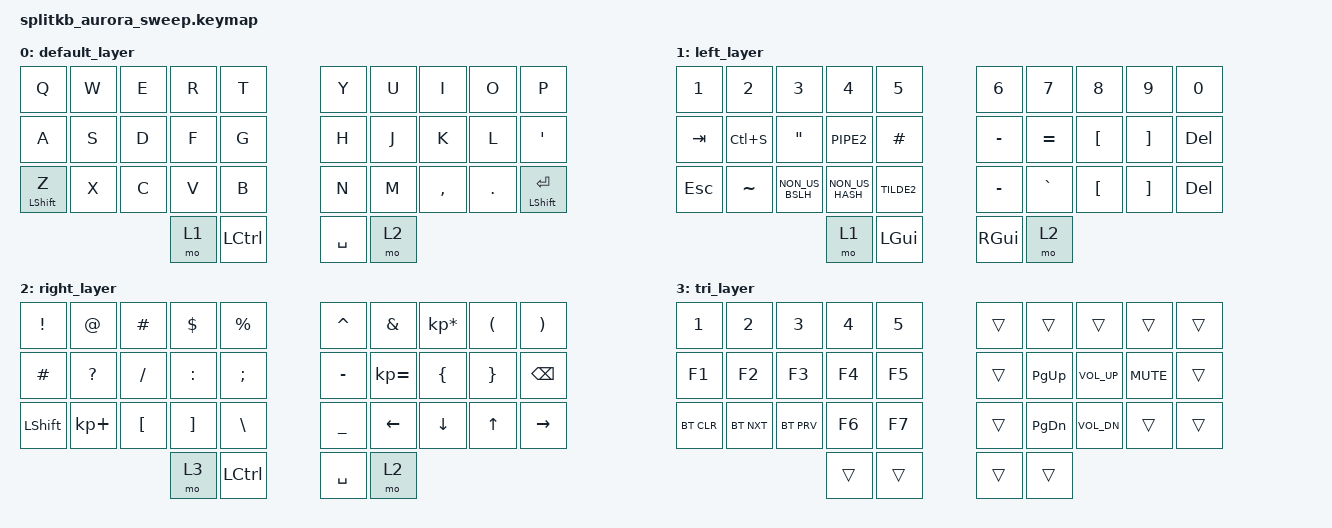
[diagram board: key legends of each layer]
/*
 * Copyright (c) 2022 The ZMK Contributors
 *
 * SPDX-License-Identifier: MIT
 */

#include <behaviors.dtsi>
#include <dt-bindings/zmk/bt.h>
#include <dt-bindings/zmk/ext_power.h>
#include <dt-bindings/zmk/keys.h>
#include <dt-bindings/zmk/outputs.h>
#include <dt-bindings/zmk/rgb.h>


&led_strip {
    // chain-length = <6>;

    chain-length = <18>; // Uncomment if using both per-key and underglow LEDs
    // chain-length = <25>; // Uncomment if using only per-key LEDs.
};

&mt {
  //  flavor = "tap-preferred";
   // tapping-term-ms = <200>;
};

/ {

    combos {
        compatible = "zmk,combos";
        combo_esc {
            timeout-ms = <50>;
            key-positions = <0 1>;
            bindings = <&kp ESC>;
        };

         combo_tab {
            timeout-ms = <50>;
            key-positions = <10 11>;
            bindings = <&kp TAB>;
        };

            combo_ralt {
            timeout-ms = <50>;
            key-positions = <17 16>;
            bindings = <&kp RALT>;
        };

                    combo_lalt {
            timeout-ms = <50>;
            key-positions = <11 12>;
            bindings = <&kp LALT>;
        };

                           combo_lgui {
            timeout-ms = <50>;
            key-positions = <12 13>;
            bindings = <&kp LGUI>;
        };


       combo_rgui {
            timeout-ms = <50>;
            key-positions = <17 18>;
            bindings = <&kp RGUI>;
        };



    };

        keymap {
                compatible = "zmk,keymap";

            default_layer {
        bindings = <
        &kp Q &kp W &kp E &kp R &kp T                       &kp Y &kp U  &kp I    &kp O   &kp P
        &kp A &kp S &kp D &kp F &kp G                               &kp H &kp J &kp K &kp L &kp SQT
        &mt LSHFT Z &kp X &kp C &kp V &kp B                      &kp N &kp M  &kp COMMA &kp DOT &mt LSHFT RET
                        &mo 1 &kp LCTRL                  &kp SPACE &mo 2
        >;
        };

            left_layer {
        bindings = <
        &kp N1  &kp N2    &kp N3    &kp N4    &kp N5     &kp N6 &kp N7 &kp N8 &kp N9 &kp N0
        &kp TAB    &kp LC(S)    &kp DQT      &kp PIPE2     &kp HASH         &kp MINUS &kp EQUAL  &kp LBKT &kp RBKT  &kp DEL
        &kp ESC    &kp TILDE    &kp NON_US_BSLH &kp NON_US_HASH  &kp TILDE2     &kp MINUS &kp GRAVE &kp LBKT &kp RBKT  &kp DEL
                        &mo 1  &kp LGUI                     &kp RGUI &mo 2
        >;
        };

        right_layer {
        bindings = <
        &kp EXCL  &kp AT &kp HASH  &kp DLLR  &kp PRCNT             &kp CARET  &kp AMPS &kp KP_MULTIPLY &kp LPAR &kp RPAR
        &kp HASH  &kp QMARK  &kp FSLH  &kp COLON  &kp SEMI           &kp MINUS &kp KP_EQUAL  &kp LBRC  &kp RBRC   &kp BSPC
        &kp LSHFT  &kp KP_PLUS &kp LBKT &kp RBKT   &kp BSLH             &kp UNDER &kp LEFT &kp DOWN &kp UP  &kp RIGHT
                      &mo 3 &kp LCTRL                &kp SPACE  &mo 2
        >;
        };

        tri_layer {
        bindings = <
        &kp N1  &kp N2    &kp N3    &kp N4    &kp N5             &trans &trans   &trans   &trans  &trans
        &kp F1 &kp F2 &kp F3 &kp F4 &kp F5                          &trans &kp PG_UP  &kp K_VOL_UP &kp K_MUTE &trans
        &bt BT_CLR  &bt BT_NXT &bt BT_PRV &kp F6 &kp F7                 &trans &kp PG_DN  &kp K_VOL_DN  &trans &trans
                     &trans &trans                      &trans &trans
        >;
        };

    };
};
